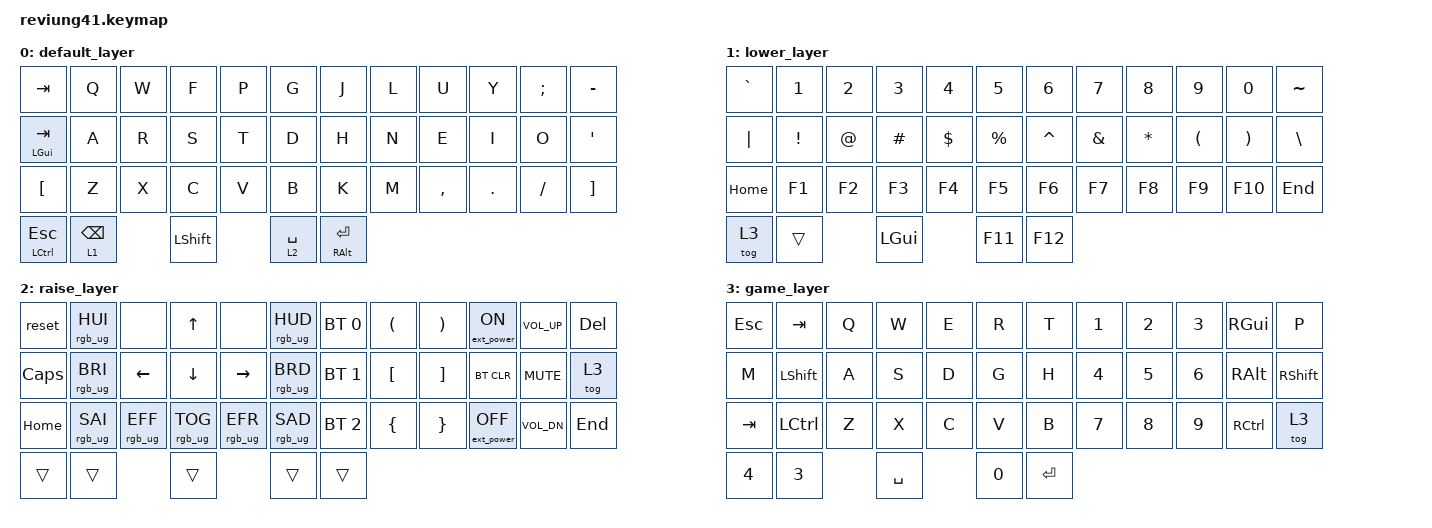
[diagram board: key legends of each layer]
/*
 * Copyright (c) 2020 The ZMK Contributors
 *
 * SPDX-License-Identifier: MIT
 */

#include <behaviors.dtsi>
#include <dt-bindings/zmk/keys.h>
#include <dt-bindings/zmk/bt.h>
#include <dt-bindings/zmk/rgb.h>
#include <dt-bindings/zmk/ext_power.h>

&mt {
	compatible = "zmk,behavior-hold-tap";
	tapping-term-ms = <90>;
	quick_tap_ms = <90>;
	flavor = "tap-preferred";
};

/ {
	keymap {
		compatible = "zmk,keymap";

		default_layer {
			// -------------------------------------------------------------------------------------
			// |     =     |  Q  |  W  |  F  |  P  |  G  |   |  J  |  L   |  U  |  Y  |  ;  |   -  |
			// | LGUI(TAB) |  A  |  R  |  S  |  T  |  D  |   |  H  |  N   |  E  |  I  |  O  |   '  |
			// |     [     |  Z  |  X  |  C  |  V  |  B  |   |  K  |  M   |  ,  |  .  |  /  |   ]  |
			//               | CTRL(ESC) | LWR(BSPC) | LSFT(SPC) | RSE(TAB)  | ALT(RET) |
			bindings = <
				&kp TAB   	 &kp Q &kp W &kp F &kp P &kp G   &kp J &kp L  &kp U     &kp Y   &kp SEMI &kp MINUS
				&mt LGUI TAB &kp A &kp R &kp S &kp T &kp D   &kp H &kp N  &kp E     &kp I   &kp O 	 &kp SQT
				&kp LBKT 	 &kp Z &kp X &kp C &kp V &kp B   &kp K &kp M  &kp COMMA &kp DOT &kp FSLH &kp RBKT
				&mt LCTRL ESC &lt 1 BKSP &kp LSHFT &lt 2 SPACE &mt RALT RET
				>;
		};

		lower_layer {
			// -----------------------------------------------------------------------------
			// |  `  |  1  |  2  |  3  |  4  |  5  |   |  6  |  7  |  8  |  9  |  0  |  ~  |
			// |  |  |  !  |  @  |  #  |  $  |  %  |   |  %  |  &  |  *  |  (  |  )  |  \  |
			// | HOM |  F1 |  F2 |  F3 |  F4 |  F5 |   |  F6 |  F7 |  F8 |  F9 | F10 | END |
			//                     | TO(3) |        | LGUI |  F11  | F12 |
			bindings = <
				&kp GRAVE &kp N1   &kp N2  &kp N3   &kp N4   &kp N5      &kp N6      &kp N7    &kp N8    &kp N9   &kp N0   &kp TILDE
				&kp PIPE  &kp EXCL &kp AT  &kp HASH &kp DLLR &kp PRCNT   &kp CARET   &kp AMPS  &kp STAR  &kp LPAR &kp RPAR &kp BSLH
				&kp HOME  &kp F1   &kp F2  &kp F3   &kp F4   &kp F5      &kp F6      &kp F7    &kp F8    &kp F9   &kp F10  &kp END
				&tog 3  &trans   &kp LGUI    &kp F11       &kp F12
				>;
		};

		raise_layer {
			// -----------------------------------------------------------------------------------------
			// | RSET | HUE+ | BACK |  UP  |  FWD | HUE- |   | BT1 |  (  |  )  | POW ON  | VOL+ | DEL |
			// | CAPS | BRI+ | LEFT | DOWN | RGHT | BRI- |   | BT2 |  [  |  ]  | BT_CLR  | MUTE | L(3)|
			// | HOME | SAT+ | ANI+ | RGBT | ANI+ | SAT- |   | BT3 |  {  |  }  | POW OFF | VOL- | END |
			//                       |     |      |    |    |     |
			bindings = <
				&reset    &rgb_ug RGB_HUI &none    			&kp UP     		&none     		&rgb_ug RGB_HUD &bt BT_SEL 0  &kp LPAR &kp RPAR  &ext_power EP_ON  &kp C_VOL_UP  &kp DEL
				&kp CAPS  &rgb_ug RGB_BRI &kp LEFT 			&kp DOWN   		&kp RIGHT 		&rgb_ug RGB_BRD &bt BT_SEL 1  &kp LBKT &kp RBKT  &bt BT_CLR        &kp C_MUTE    &tog 3
				&kp HOME  &rgb_ug RGB_SAI &rgb_ug RGB_EFF   &rgb_ug RGB_TOG &rgb_ug RGB_EFR &rgb_ug RGB_SAD &bt BT_SEL 2  &kp LBRC &kp RBRC  &ext_power EP_OFF &kp C_VOL_DN  &kp END
				&trans      &trans       &trans        &trans      &trans
				>;
		};

		game_layer {
			// -----------------------------------------------------------------------------------------
			// | ESC | TAB    | Q | W | E | R |   | T | 1 | 2 | 3 | CTRL | P     |
			// |  M  | LSHIFT | A | S | D | G |   | H | 4 | 5 | 6 | ALT  | RSFT  |
			// | TAB | LCTRL  | Z | X | C | V |   | B | 7 | 8 | 9 | CMD  | TOG3  |
			//                   |  4  |  3  | SPC |  0  | ENT |
			bindings = <
				&kp ESC &kp TAB   &kp Q &kp W &kp E &kp R &kp T &kp N1 &kp N2 &kp N3 &kp RGUI   &kp P
				&kp M   &kp LSHFT &kp A &kp S &kp D &kp G &kp H &kp N4 &kp N5 &kp N6 &kp RALT   &kp RSHFT
				&kp TAB &kp LCTRL &kp Z &kp X &kp C &kp V &kp B &kp N7 &kp N8 &kp N9 &kp RCTRL  &tog 3
				&kp N4  &kp N3    &kp SPACE   &kp N0 &kp RET
				>;
		};
	};
};
